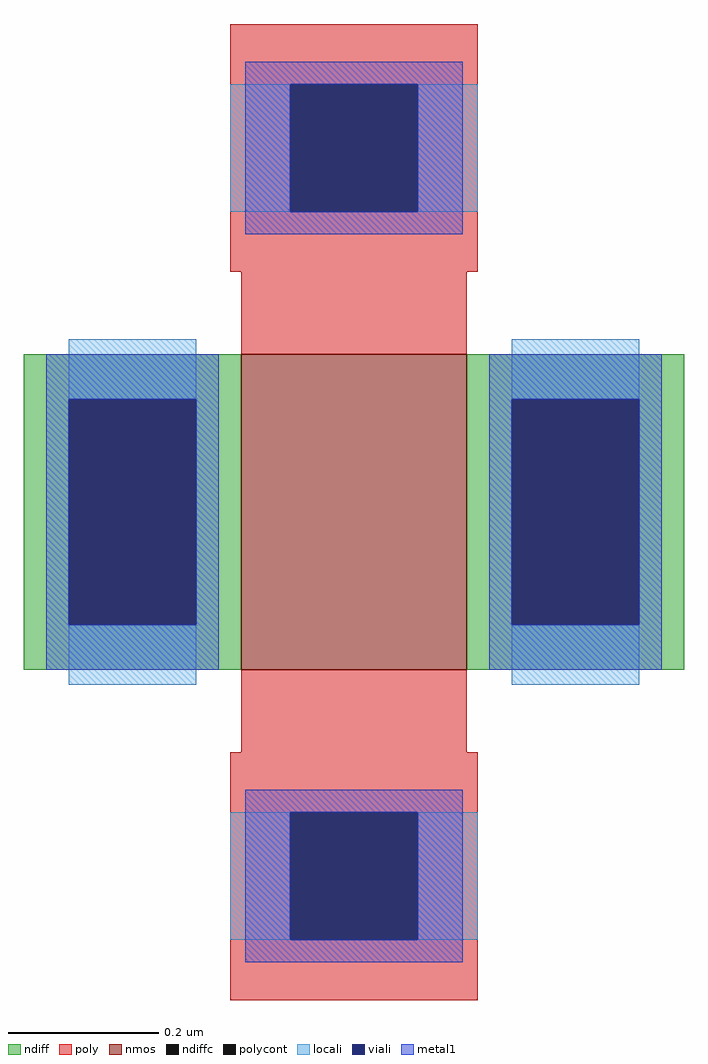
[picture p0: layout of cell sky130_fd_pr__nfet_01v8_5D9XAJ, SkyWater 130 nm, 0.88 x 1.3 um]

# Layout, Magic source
magic
tech sky130A
magscale 1 2
<< nmos >>
rect -30 -42 30 42
<< ndiff >>
rect -88 30 -30 42
rect -88 -30 -76 30
rect -42 -30 -30 30
rect -88 -42 -30 -30
rect 30 30 88 42
rect 30 -30 42 30
rect 76 -30 88 30
rect 30 -42 88 -30
<< ndiffc >>
rect -76 -30 -42 30
rect 42 -30 76 30
<< poly >>
rect -33 114 33 130
rect -33 80 -17 114
rect 17 80 33 114
rect -33 64 33 80
rect -30 42 30 64
rect -30 -64 30 -42
rect -33 -80 33 -64
rect -33 -114 -17 -80
rect 17 -114 33 -80
rect -33 -130 33 -114
<< polycont >>
rect -17 80 17 114
rect -17 -114 17 -80
<< locali >>
rect -33 80 -17 114
rect 17 80 33 114
rect -76 30 -42 46
rect -76 -46 -42 -30
rect 42 30 76 46
rect 42 -46 76 -30
rect -33 -114 -17 -80
rect 17 -114 33 -80
<< viali >>
rect -17 80 17 114
rect -76 -30 -42 30
rect 42 -30 76 30
rect -17 -114 17 -80
<< metal1 >>
rect -29 114 29 120
rect -29 80 -17 114
rect 17 80 29 114
rect -29 74 29 80
rect -82 30 -36 42
rect -82 -30 -76 30
rect -42 -30 -36 30
rect -82 -42 -36 -30
rect 36 30 82 42
rect 36 -30 42 30
rect 76 -30 82 30
rect 36 -42 82 -30
rect -29 -80 29 -74
rect -29 -114 -17 -80
rect 17 -114 29 -80
rect -29 -120 29 -114
<< properties >>
string gencell sky130_fd_pr__nfet_01v8
string library sky130
string parameters w 0.42 l 0.3 m 1 nf 1 diffcov 100 polycov 100 guard 0 glc 1 grc 1 gtc 1 gbc 1 tbcov 100 rlcov 100 topc 1 botc 1 poverlap 0 doverlap 1 lmin 0.15 wmin 0.42 compatible {sky130_fd_pr__nfet_01v8 sky130_fd_pr__nfet_01v8_lvt  sky130_fd_bs_flash__special_sonosfet_star  sky130_fd_pr__nfet_g5v0d10v5 sky130_fd_pr__nfet_05v0_nvt  sky130_fd_pr__nfet_03v3_nvt} full_metal 1 viasrc 100 viadrn 100 viagate 100 viagb 0 viagr 0 viagl 0 viagt 0
<< end >>
